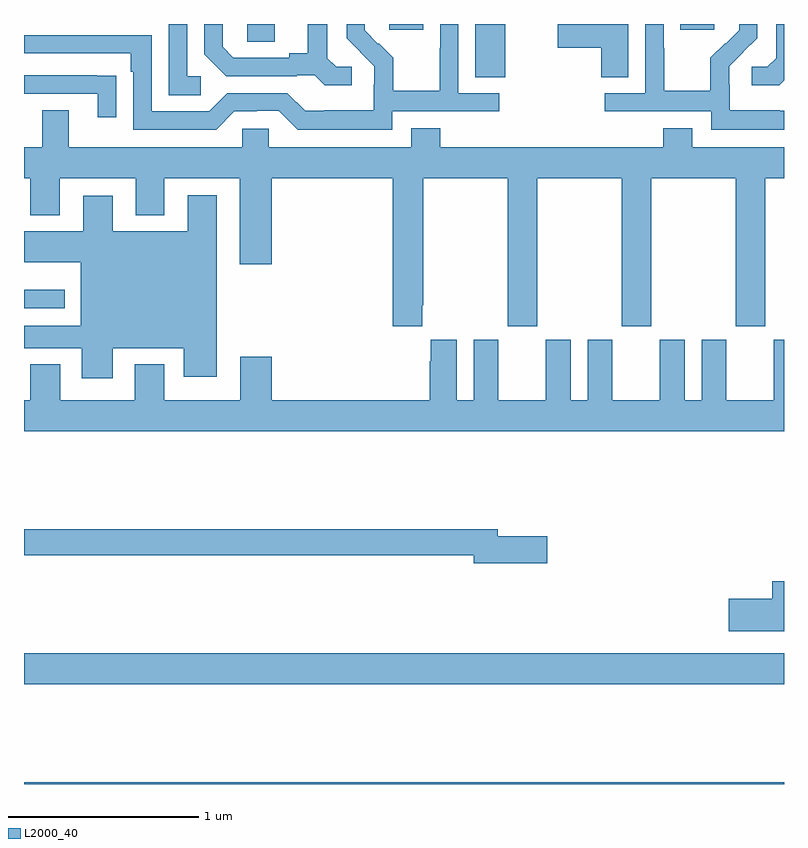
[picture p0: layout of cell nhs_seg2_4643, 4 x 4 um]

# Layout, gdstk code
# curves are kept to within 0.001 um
import gdstk
lib = gdstk.Library(unit=1e-6, precision=1e-09)
def R(c, l, rs):  # rectangles x0, y0, x1, y1
    for r in rs: c.add(gdstk.rectangle(r[:2], r[2:], *l))
def P(c, l, *ps):  # polygons
    for p in ps: c.add(gdstk.Polygon(p, *l))
L2000_40 = (2000, 40)

nhs_seg2_4643 = lib.new_cell('nhs_seg2_4643')
R(nhs_seg2_4643, L2000_40, [(363,625.8,367,625.808), (363,626.324,367,626.488), (363,628.305,363.214,628.402), (365.375,629.521,365.533,629.8), (364.176,629.707,364.321,629.8), (364.922,629.769,365.101,629.8), (366.455,629.769,366.634,629.8)])
P(nhs_seg2_4643, L2000_40, [(366.181,629.8),(365.81,629.8),(365.81,629.675),(366.038,629.675),(366.038,629.521),(366.181,629.521)],
  [(364.938,629.34),(365.5,629.34),(365.5,629.436),(365.286,629.436),(365.286,629.8),(365.19,629.8),(365.19,629.672),(365.188,629.672),(365.188,629.449),(364.943,629.449),(364.943,629.623),(364.866,629.7),(364.863,629.697),(364.793,629.768),(364.793,629.8),(364.698,629.8),(364.698,629.726),(364.844,629.578),(364.844,629.481),(364.842,629.481),(364.842,629.347),(364.579,629.347),(364.579,629.343),(364.479,629.343),(364.386,629.436),(364.071,629.436),(363.975,629.34),(363.672,629.34),(363.672,629.742),(363,629.742),(363,629.646),(363.563,629.646),(363.563,629.549),(363.576,629.549),(363.576,629.244),(364.011,629.244),(364.107,629.34),(364.226,629.34),(364.226,629.343),(364.341,629.343),(364.441,629.243),(364.938,629.243)],
  [(363.931,629.526),(363.858,629.526),(363.858,629.8),(363.762,629.8),(363.762,629.425),(363.931,629.425)],
  [(367,629.343),(366.977,629.343),(366.977,629.347),(366.714,629.347),(366.714,629.481),(366.712,629.481),(366.712,629.578),(366.858,629.726),(366.858,629.8),(366.764,629.8),(366.764,629.768),(366.693,629.697),(366.69,629.7),(366.613,629.623),(366.613,629.449),(366.369,629.449),(366.369,629.672),(366.366,629.672),(366.366,629.8),(366.27,629.8),(366.27,629.436),(366.057,629.436),(366.057,629.34),(366.618,629.34),(366.618,629.243),(367,629.243)],
  [(364.726,629.574),(364.644,629.574),(364.597,629.621),(364.597,629.8),(364.493,629.8),(364.493,629.645),(364.397,629.645),(364.397,629.622),(364.102,629.622),(364.045,629.679),(364.045,629.8),(363.948,629.8),(363.948,629.642),(364.064,629.526),(364.436,629.526),(364.436,629.529),(364.53,629.529),(364.582,629.477),(364.726,629.477)],
  [(367,629.503),(367,629.8),(366.959,629.8),(366.959,629.621),(366.912,629.574),(366.831,629.574),(366.831,629.477),(366.974,629.477)],
  [(363.485,629.528),(363.383,629.528),(363.383,629.529),(363,629.529),(363,629.433),(363.389,629.433),(363.389,629.31),(363.485,629.31)],
  [(365.095,628.321),(365.1,628.321),(365.1,628.988),(365.545,628.988),(365.545,628.209),(365.7,628.209),(365.7,628.988),(366.145,628.988),(366.145,628.209),(366.3,628.209),(366.3,628.988),(366.745,628.988),(366.745,628.209),(366.9,628.209),(366.9,628.988),(367,628.988),(367,629.152),(366.517,629.152),(366.517,629.251),(366.365,629.251),(366.365,629.152),(365.192,629.152),(365.192,629.251),(365.039,629.251),(365.039,629.152),(364.287,629.152),(364.287,629.25),(364.149,629.25),(364.149,629.152),(363.235,629.152),(363.235,629.347),(363.095,629.347),(363.095,629.152),(363,629.152),(363,628.988),(363.032,628.988),(363.032,628.794),(363.187,628.794),(363.187,628.988),(363.587,628.988),(363.587,628.794),(363.739,628.794),(363.739,628.988),(364.136,628.988),(364.136,628.536),(364.304,628.536),(364.304,628.988),(364.94,628.988),(364.94,628.209),(365.095,628.209)],
  [(363.466,628.094),(363.842,628.094),(363.842,627.944),(364.015,627.944),(364.015,628.9),(363.863,628.9),(363.863,628.708),(363.466,628.708),(363.466,628.897),(363.311,628.897),(363.311,628.708),(363,628.708),(363,628.547),(363.299,628.547),(363.299,628.213),(363,628.213),(363,628.094),(363.305,628.094),(363.305,627.936),(363.466,627.936)],
  [(367,628.138),(366.947,628.138),(366.947,627.82),(366.697,627.82),(366.697,628.138),(366.566,628.138),(366.566,627.82),(366.478,627.82),(366.478,628.138),(366.347,628.138),(366.347,627.82),(366.097,627.82),(366.097,628.138),(365.966,628.138),(365.966,627.82),(365.878,627.82),(365.878,628.138),(365.747,628.138),(365.747,627.82),(365.497,627.82),(365.497,628.138),(365.366,628.138),(365.366,627.82),(365.278,627.82),(365.278,628.138),(365.141,628.138),(365.141,628.025),(365.135,628.025),(365.135,627.82),(364.304,627.82),(364.304,628.048),(364.139,628.048),(364.139,627.82),(363.739,627.82),(363.739,628.009),(363.584,628.009),(363.584,627.82),(363.19,627.82),(363.19,628.009),(363.032,628.009),(363.032,627.82),(363,627.82),(363,627.656),(367,627.656)],
  [(365.755,627.104),(365.494,627.104),(365.494,627.14),(363,627.14),(363,627.004),(365.366,627.004),(365.366,626.962),(365.755,626.962)],
  [(367,626.866),(366.938,626.866),(366.938,626.774),(366.708,626.774),(366.708,626.603),(367,626.603)])

lib.write_gds('nhs_seg2_4643.gds')
